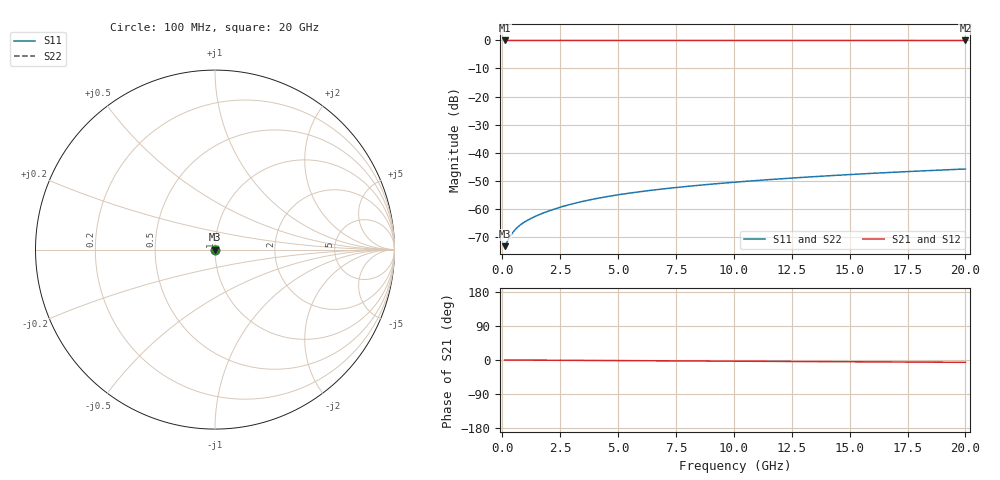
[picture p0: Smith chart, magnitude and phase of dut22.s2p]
! Touchstone file exported from HFSS 2026.1.0
!  File:  C:/ffzhzh/LocalFiles/Ansys_Project_Files/temp_train_TSV_22_1782958195_45308.aedt
!  Generated:  10:11:38 AM Jul  2, 2026
!  Design:  TSV
!  Project:  temp_train_TSV_22_1782958195_45308
! Variables:
!  h_bsmrdl = 2um
!  h_ox = 20um
!  h_rdl = 5um
!  h_sub = 62.65um
!  h_tmrdl = 5um
!  h_tsv = 62.65um
!  h_via = 3um
!  l_bsmrdl = 300um
!  l_sub = 413.24um
!  l_tmrdl = 200um
!  m_sub = 200um
!  pitch = 28.29um
!  r_tsv = 6.62um
!  s_tmrdl = 10um
!  w_bsmrdl = 18um
!  w_sub = 500um
!  w_tmrdl = 12um
!  x_tsv_center1 = 206um
!  x_tsv_center2 = 524um
!  x_tsv_center3 = 736um
!  x_tsv_center4 = 1054um
!  x_tsv_center5 = 1266um
!  x_tsv_center6 = 1584um
# GHz S MA R 50.000000
! Terminal data exported
! Port[1] = TSV1_1_T1
! Port[2] = TSV1_1_T2
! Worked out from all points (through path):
!   200 points, 100 MHz to 20 GHz, reference 50 ohm
!   highest |S21| = 0.00 dB at 100 MHz (marker M1); lowest = 0.0 dB at 20 GHz (marker M2)
!   lowest |S11| = -73.4 dB at 100 MHz (marker M3), VSWR 1.00, Z = 50 + j0.00671 ohm
!   |S11| at or under -10 dB: start of sweep to end of sweep
!   |S22| runs from -73.4 to -45.8 dB; largest |S21 - S12| = 4.2e-15
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0.1  0.0002146 18.2  0.9998 -0.0  0.9998 -0.0  0.0002146 18.2
! Gamma 0 0 0 0
! Port Impedance 50 0 50 0
0.3  0.0003016 38.7  0.9998 -0.1  0.9998 -0.1  0.0003016 38.7
0.4  0.0003514 43.0  0.9997 -0.1  0.9997 -0.1  0.0003514 43.0
0.5  0.000399 45.6  0.9997 -0.2  0.9997 -0.2  0.000399 45.6
0.6  0.0004431 47.3  0.9997 -0.2  0.9997 -0.2  0.0004431 47.3
0.8  0.0005221 49.7  0.9997 -0.3  0.9997 -0.3  0.0005221 49.7
1.1  0.0006258 52.4  0.9996 -0.4  0.9996 -0.4  0.0006258 52.4
1.3  0.0006903 53.9  0.9996 -0.4  0.9996 -0.4  0.0006903 53.9
1.6  0.0007846 56.0  0.9996 -0.5  0.9996 -0.5  0.0007846 56.0
2.1  0.0009395 58.6  0.9995 -0.7  0.9995 -0.7  0.0009395 58.6
2.8  0.001153 61.0  0.9995 -0.9  0.9995 -0.9  0.001153 61.0
3.5  0.001358 62.4  0.9994 -1.1  0.9994 -1.1  0.001358 62.4
4.2  0.001555 63.2  0.9993 -1.3  0.9993 -1.3  0.001555 63.2
5  0.001769 63.9  0.9993 -1.6  0.9993 -1.6  0.001769 63.9
5.8  0.001973 64.4  0.9992 -1.8  0.9992 -1.8  0.001973 64.4
6.8  0.002218 64.9  0.9991 -2.1  0.9991 -2.1  0.002218 64.9
8.3  0.002572 65.6  0.999 -2.6  0.999 -2.6  0.002572 65.6
10.1  0.002982 66.2  0.9989 -3.1  0.9989 -3.1  0.002982 66.2
11.7  0.00334 66.7  0.9989 -3.6  0.9989 -3.6  0.00334 66.7
13.4  0.003714 67.0  0.9988 -4.1  0.9988 -4.1  0.003714 67.0
16.7  0.004423 67.1  0.9986 -5.2  0.9986 -5.2  0.004423 67.1
20  0.005103 66.9  0.9985 -6.2  0.9985 -6.2  0.005103 66.9
